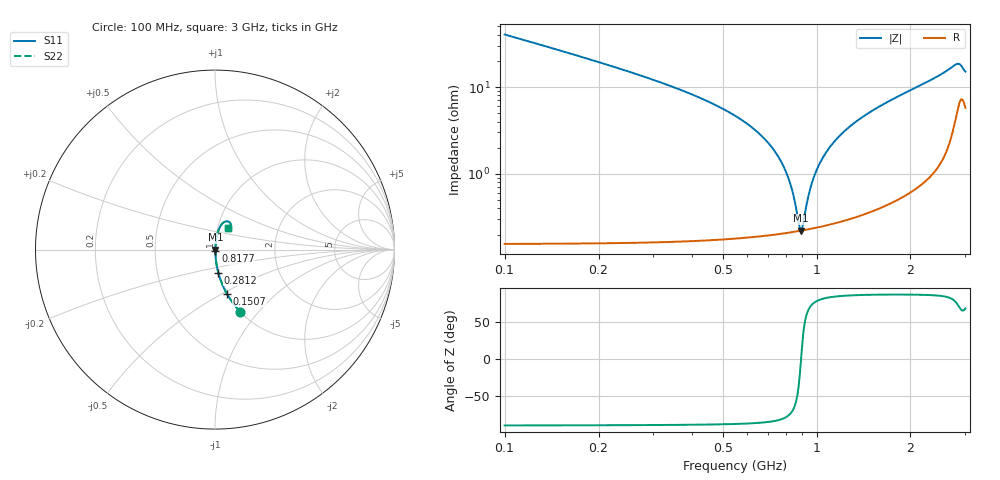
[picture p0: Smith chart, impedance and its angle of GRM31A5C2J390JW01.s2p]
!Murata Part Number: GRM31A5C2J390JW01
!These Parameters are Measured in Series Mode Connection
!Data Generated on Mar 30, 2021
!  o--ll--o
!Port1  Port2
!  o------o
!Operation Temp=25[degC], DC Bias Voltage=0[V]
!Freq. Start=100[MHz] Stop=3[GHz] 401[Steps]
# Hz S RI R 50
!Freq.(Hz) S11(Real) S11(Imag) S21(Real) S21(Imag) S12(Real) S12(Imag) S22(Real) S22(Imag)
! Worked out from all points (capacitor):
!   401 points, 100 MHz to 3 GHz, reference 50 ohm
!   read as one part in series: C = 39 pF near 114.5 MHz
!   lowest |Z| = 222 mohm at 890.2 MHz (marker M1)
!   series resonance near 891.9 MHz, so ESL is about 820 pH
!   S11 on the Smith chart (normalised r, x): 100 MHz: 1.00, -0.81; 150.8 MHz: 1.00, -0.53; 281.2 MHz: 1.00, -0.26; 817.8 MHz: 1.00, -0.02; 3 GHz: 1.12, +0.28
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1e8  0.1407 -0.3458  0.8593 0.3458  0.8593 0.3458  0.1407 -0.3458
1.5075e8  0.066 -0.2454  0.934 0.2454  0.934 0.2454  0.066 -0.2454
2.8125e8  0.0184 -0.1283  0.9816 0.1283  0.9816 0.1283  0.0184 -0.1283
5.8575e8  0.00341 -0.0397  0.9966 0.0397  0.9966 0.0397  0.00341 -0.0397
7.3075e8  0.00233 -0.0185  0.9977 0.0185  0.9977 0.0185  0.00233 -0.0185
7.815e8  0.0022 -0.0122  0.9978 0.0122  0.9978 0.0122  0.0022 -0.0122
8.1775e8  0.00217 -0.00804  0.9978 0.00804  0.9978 0.00804  0.00217 -0.00804
8.4675e8  0.00217 -0.00481  0.9978 0.00481  0.9978 0.00481  0.00217 -0.00481
8.7575e8  0.00219 -0.0017  0.9978 0.0017  0.9978 0.0017  0.00219 -0.0017
8.9025e8  0.00221 -0.000172  0.9978 0.000172  0.9978 0.000172  0.00221 -0.000172
9.0475e8  0.00224 0.00133  0.9978 -0.00133  0.9978 -0.00133  0.00224 0.00133
9.41e8  0.00232 0.00498  0.9977 -0.00498  0.9977 -0.00498  0.00232 0.00498
9.7725e8  0.00243 0.00852  0.9976 -0.00852  0.9976 -0.00852  0.00243 0.00852
1.02075e9  0.0026 0.0126  0.9974 -0.0126  0.9974 -0.0126  0.0026 0.0126
1.0715e9  0.00283 0.0173  0.9972 -0.0173  0.9972 -0.0173  0.00283 0.0173
1.15125e9  0.00329 0.0242  0.9967 -0.0242  0.9967 -0.0242  0.00329 0.0242
1.26e9  0.00407 0.0333  0.9959 -0.0333  0.9959 -0.0333  0.00407 0.0333
1.55e9  0.00697 0.0559  0.993 -0.0559  0.993 -0.0559  0.00697 0.0559
2.03575e9  0.015 0.0927  0.985 -0.0927  0.985 -0.0927  0.015 0.0927
2.5215e9  0.0326 0.1347  0.9674 -0.1347  0.9674 -0.1347  0.0326 0.1347
2.826e9  0.0761 0.1555  0.9239 -0.1555  0.9239 -0.1555  0.0761 0.1555
3e9  0.0706 0.1226  0.9294 -0.1226  0.9294 -0.1226  0.0706 0.1226
